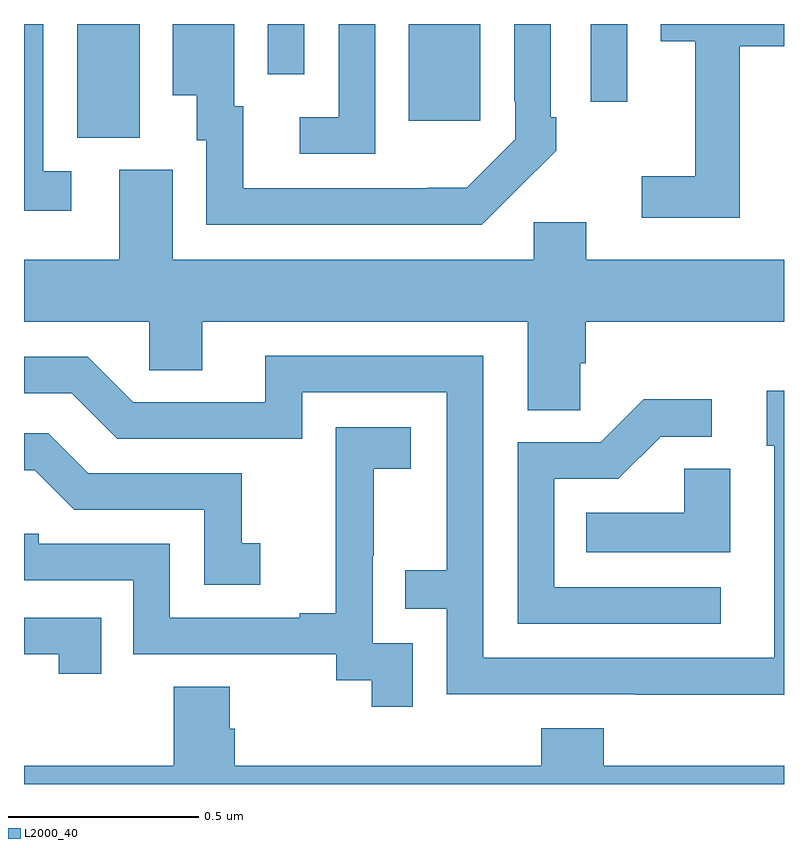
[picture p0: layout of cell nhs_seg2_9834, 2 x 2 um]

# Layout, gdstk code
import gdstk
lib = gdstk.Library(unit=1e-6, precision=1e-09)
def R(c, l, rs):  # rectangles x0, y0, x1, y1
    for r in rs: c.add(gdstk.rectangle(r[:2], r[2:], *l))
def P(c, l, *ps):  # polygons
    for p in ps: c.add(gdstk.Polygon(p, *l))
L2000_40 = (2000, 40)

nhs_seg2_9834 = lib.new_cell('nhs_seg2_9834')
R(nhs_seg2_9834, L2000_40, [(234.14,601.501,234.304,601.8), (235.013,601.545,235.201,601.8), (235.491,601.596,235.587,601.8), (234.642,601.668,234.738,601.8)])
P(nhs_seg2_9834, L2000_40, [(235.295,601.363),(235.296,601.362),(235.401,601.467),(235.401,601.555),(235.386,601.555),(235.386,601.8),(235.29,601.8),(235.29,601.597),(235.293,601.597),(235.293,601.497),(235.165,601.369),(235.061,601.369),(235.061,601.368),(234.577,601.368),(234.577,601.584),(234.553,601.584),(234.553,601.8),(234.392,601.8),(234.392,601.613),(234.455,601.613),(234.455,601.494),(234.48,601.494),(234.48,601.272),(235.204,601.272)],
  [(234.124,601.413),(234.051,601.413),(234.051,601.8),(234,601.8),(234,601.308),(234.124,601.308)],
  [(234.924,601.8),(234.828,601.8),(234.828,601.554),(234.726,601.554),(234.726,601.458),(234.924,601.458)],
  [(235.883,601.742),(236,601.742),(236,601.8),(235.676,601.8),(235.676,601.754),(235.766,601.754),(235.766,601.399),(235.626,601.399),(235.626,601.29),(235.883,601.29)],
  [(234.33,600.889),(234.469,600.889),(234.469,601.016),(235.325,601.016),(235.325,600.784),(235.464,600.784),(235.464,600.907),(235.478,600.907),(235.478,601.016),(236,601.016),(236,601.18),(235.48,601.18),(235.48,601.278),(235.341,601.278),(235.341,601.18),(234.391,601.18),(234.391,601.416),(234.251,601.416),(234.251,601.18),(234,601.18),(234,601.016),(234.33,601.016)],
  [(236,600.835),(235.955,600.835),(235.955,600.69),(235.974,600.69),(235.974,600.132),(235.209,600.132),(235.209,600.927),(234.635,600.927),(234.635,600.804),(234.288,600.804),(234.168,600.924),(234,600.924),(234,600.828),(234.126,600.828),(234.246,600.708),(234.732,600.708),(234.732,600.831),(235.113,600.831),(235.113,600.362),(235.003,600.362),(235.003,600.261),(235.113,600.261),(235.113,600.036),(235.609,600.036),(235.609,600.035),(236,600.035)],
  [(235.834,600.318),(235.395,600.318),(235.395,600.603),(235.564,600.603),(235.675,600.714),(235.81,600.714),(235.81,600.812),(235.631,600.812),(235.518,600.699),(235.299,600.699),(235.299,600.222),(235.834,600.222)],
  [(235.023,600.171),(234.918,600.171),(234.918,600.401),(234.92,600.401),(234.92,600.629),(235.018,600.629),(235.018,600.739),(234.82,600.739),(234.82,600.533),(234.821,600.533),(234.821,600.25),(234.725,600.25),(234.725,600.237),(234.384,600.237),(234.384,600.432),(234.039,600.432),(234.039,600.459),(234,600.459),(234,600.336),(234.288,600.336),(234.288,600.141),(234.822,600.141),(234.822,600.073),(234.915,600.073),(234.915,600.003),(235.023,600.003)],
  [(234.622,600.433),(234.573,600.433),(234.573,600.618),(234.169,600.618),(234.064,600.723),(234,600.723),(234,600.626),(234.028,600.626),(234.132,600.522),(234.474,600.522),(234.474,600.324),(234.622,600.324)],
  [(235.858,600.629),(235.737,600.629),(235.737,600.514),(235.48,600.514),(235.48,600.41),(235.858,600.41)],
  [(234.203,600.237),(234,600.237),(234,600.141),(234.092,600.141),(234.092,600.09),(234.203,600.09)],
  [(236,599.848),(235.526,599.848),(235.526,599.947),(235.361,599.947),(235.361,599.848),(234.554,599.848),(234.554,599.946),(234.541,599.946),(234.541,600.056),(234.394,600.056),(234.394,599.848),(234,599.848),(234,599.8),(236,599.8)])

lib.write_gds('nhs_seg2_9834.gds')
